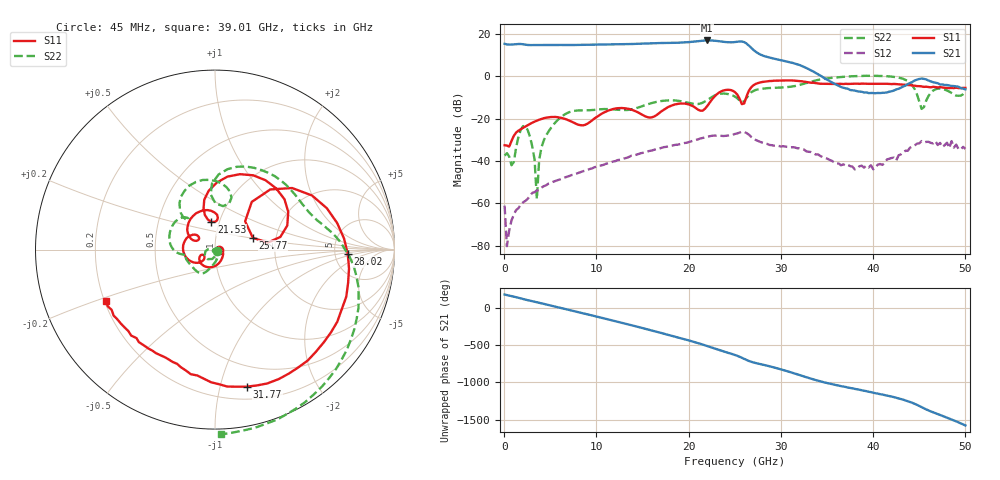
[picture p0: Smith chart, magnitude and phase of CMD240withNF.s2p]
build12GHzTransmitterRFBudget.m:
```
%% Build 12 GHz transmitter RF budget
% One representative transmit path:
% 4 GHz IF filter -> LNA -> 8 GHz-LO upconverter -> Wilkinson splitter
% -> PA -> 12 GHz dipole antenna.
%
% The physical transmitter replicates the PA/antenna path for each array
% element. This rfbudget object models one splitter output path.

scriptDir = fileparts(mfilename("fullpath"));
helpersDir = fullfile(scriptDir, "helpers");

%% Required operating point
fIF = 4e9;             % Hz
fLO = 8e9;             % Hz
fRF = fIF + fLO;       % Hz: 12 GHz
BW = 100e6;            % Hz
Pin = -20;             % dBm available input power

assert(fRF == 12e9, "The IF and LO must produce 12 GHz RF.");

lnaFile = fullfile(helpersDir, "CMD240withNF.s2p");
splitterFile = fullfile(helpersDir, "WilkinsonSplitterData.mat");
assert(isfile(lnaFile), "LNA S-parameter file not found: %s", lnaFile);
assert(isfile(splitterFile), ...
    "Wilkinson splitter data file not found: %s", splitterFile);

%% IF section and frequency conversion
ifFilter = rffilter( ...
    Name="IFFilter", ...
    FilterType="InverseChebyshev", ...
    ResponseType="Bandpass", ...
    FilterOrder=5, ...
    PassbandFrequency=fIF + [-BW/2 BW/2], ...
    PassbandAttenuation=3);

lna = amplifier( ...
    Name="LNA", ...
    Model="sparam", ...
    FileName=lnaFile, ...
    OIP3=28, ...
    OP1dB=19, ...
    OPsat=22);

upconverter = modulator( ...
    Name="Upconverter", ...
    ConverterType="Up", ...
    LO=fLO, ...
    Gain=6, ...
    NF=3, ...
    OIP3=32);

%% RF distribution, power amplification, and antenna
splitterData = load(splitterFile, "splitterSparam");
splitter = nport(splitterData.splitterSparam, "WilkinsonSplitter");
splitter.Input = 1;
splitter.Output = 2;
splitter.Termination = 50;

pa = amplifier( ...
    Name="PA", ...
    Model="poly", ...
    Gain=25, ...
    NF=6, ...
    OIP3=45, ...
    OP1dB=33, ...
    OPsat=37.5);

dipoleElement = design(dipole, fRF);
dipoleS = sparameters(dipoleElement, fRF);
dipoleGain = pattern(dipoleElement, fRF, 0, 0);
txAntenna = rfantenna( ...
    Name="DipoleAntenna", ...
    Type="Transmitter", ...
    Gain=dipoleGain, ...
    Z=s2z(dipoleS.Parameters));

%% Build the linear baseline budget
elements = [ifFilter lna upconverter splitter pa txAntenna];
budget = rfbudget( ...
    Elements=elements, ...
    InputFrequency=fIF, ...
    AvailableInputPower=Pin, ...
    SignalBandwidth=BW, ...
    Solver="Friis");

%% Report cumulative results at each stage
stageName = [ ...
    "IF filter"
    "LNA"
    "8 GHz-LO upconverter"
    "Wilkinson splitter (one output)"
    "Power amplifier"
    "12 GHz dipole antenna"];

stageBudget = table( ...
    stageName, ...
    budget.OutputFrequency(:)/1e9, ...
    budget.TransducerGain(:), ...
    budget.NF(:), ...
    budget.OIP3(:), ...
    budget.OutputPower(:), ...
    VariableNames=[ ...
        "Stage"
        "OutputFrequency_GHz"
        "CumulativeGain_dB"
        "CumulativeNF_dB"
        "CumulativeOIP3_dBm"
        "OutputPower_dBm"]);

fprintf("12 GHz transmitter budget: %.1f GHz IF + %.1f GHz LO\n", ...
    fIF/1e9, fLO/1e9);
fprintf("RF = %.1f GHz, BW = %.0f MHz, Pin = %.1f dBm\n\n", ...
    fRF/1e9, BW/1e6, Pin);
disp(stageBudget);
fprintf("Per-path EIRP: %.2f dBm\n", budget.OutputPower(end));
```
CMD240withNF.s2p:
# GHz S RI R 50
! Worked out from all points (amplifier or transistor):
!   201 points, 45 MHz to 50 GHz, reference 50 ohm
!   highest |S21| = 17.0 dB at 22.03 GHz (marker M1)
!   |S21| within 3 dB of that: start of sweep to 26.66 GHz
!   unconditionally stable (mu >= 1): start of sweep to 37.12 GHz; 41.81 GHz to end of sweep
!   at 8.288 GHz: K = 16.05, MAG = 15.0 dB, |S12| = -45.2 dB
!   at 25.02 GHz: K = 1.48, MAG = 17.6 dB, |S12| = -27.2 dB
!   at 50 GHz: K = 30.69, MAG = -3.8 dB, |S12| = -34.3 dB
!   lowest NFmin = 1.80 dB at 8 GHz
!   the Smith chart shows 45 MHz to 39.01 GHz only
!   S11 on the Smith chart (normalised r, x): 45 MHz: 1.05, -0.00; 21.53 GHz: 0.92, +0.29; 25.77 GHz: 1.52, +0.21; 28.02 GHz: 6.62, -0.68; 31.77 GHz: 0.31, -1.21; 39.01 GHz: 0.21, -0.21
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0.045  0.0236 -0.00218  -5.864 0.2441  -0.000436 -0.000772  0.00881 -0.0101
12.53375  -0.1784 0.00687  -5.533 1.44  -0.0103 0.00324  -0.1573 -0.0356
17.77903  -0.1547 0.109  6.16 -0.3081  0.0217 0.00468  -0.2456 0.1137
21.52565  -0.0197 0.1541  -4.766 -5.073  -0.0116 -0.0332  -0.1668 0.1716
22.0252  -0.0565 0.193  -6.303 -3.165  -0.0234 -0.0298  -0.1899 0.2032
25.27227  0.3641 0.0705  1.583 6.379  -0.0118 0.0434  0.0917 0.2888
25.77182  0.2106 0.0661  4.288 5.103  0.00907 0.0486  0.0449 0.242
28.0198  0.7397 -0.0233  2.313 -2.086  0.0268 -0.00388  0.2582 0.443
31.76642  0.1783 -0.7636  -1.903 -0.2775  -0.00638 -0.0191  0.5908 0.146
39.0099  -0.6076 -0.2853  0.3541 -0.2205  0.00578 0.00396  0.0335 -1.03
50  0.0684 0.5299  -0.3644 -0.3338  0.0181 -0.00673  -0.2507 -0.3443
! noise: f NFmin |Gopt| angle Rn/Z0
2  4  0  0  37.5
4  2.9  0  0  23.75
6  2.2  0  0  15
8  1.8  0  0  10
10  2.2  0  0  15
12  2  0  0  12.5
14  2.1  0  0  13.75
16  2.3  0  0  16.25
18  2.4  0  0  17.5
22  3.7  0  0  33.75
